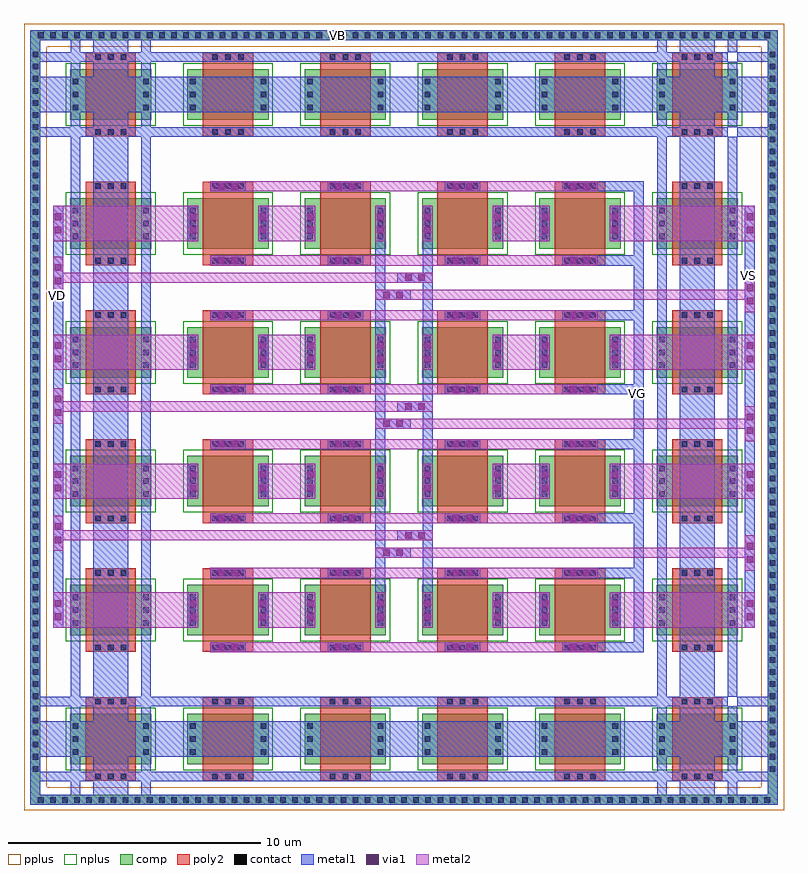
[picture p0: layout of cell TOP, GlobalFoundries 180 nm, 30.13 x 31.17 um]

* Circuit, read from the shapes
.subckt TOP VB VD VG VS
XM1 VB VB VB VB nfet_03v3 w=2u l=2u m=16
XM2 n1 VG VD VB nfet_03v3 w=2u l=2u
XM3 n2 VG VD VB nfet_03v3 w=2u l=2u
XM4 n3 VG VD VB nfet_03v3 w=2u l=2u
XM5 n4 VG VD VB nfet_03v3 w=2u l=2u
XM6 VS VG n1 VB nfet_03v3 w=2u l=2u
XM7 VS VG n2 VB nfet_03v3 w=2u l=2u
XM8 VS VG n3 VB nfet_03v3 w=2u l=2u
XM9 VS VG n4 VB nfet_03v3 w=2u l=2u
XM10 n5 VG VD VB nfet_03v3 w=2u l=2u
XM11 n6 VG VD VB nfet_03v3 w=2u l=2u
XM12 n7 VG VD VB nfet_03v3 w=2u l=2u
XM13 n8 VG VD VB nfet_03v3 w=2u l=2u
XM14 VS VG n5 VB nfet_03v3 w=2u l=2u
XM15 VS VG n6 VB nfet_03v3 w=2u l=2u
XM16 VS VG n7 VB nfet_03v3 w=2u l=2u
XM17 VS VG n8 VB nfet_03v3 w=2u l=2u
XM18 n9 VB VB VB nfet_03v3 w=2u l=2u m=4
.ends

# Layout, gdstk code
from math import pi, radians
import gdstk
lib = gdstk.Library(unit=1e-6, precision=1e-09)
def R(c, l, rs):  # rectangles x0, y0, x1, y1
    for r in rs: c.add(gdstk.rectangle(r[:2], r[2:], *l))
def A(c, l, x, y, w, h, nx, ny, dx, dy):  # array of equal rectangles
    R(c, l, [(x+i*dx, y+j*dy, x+i*dx+w, y+j*dy+h) for i in range(nx) for j in range(ny)])
def P(c, l, *ps):  # polygons
    for p in ps: c.add(gdstk.Polygon(p, *l))
comp = (22, 0)
poly2 = (30, 0)
pplus = (31, 0)
nplus = (32, 0)
contact = (33, 0)
metal1 = (34, 0)
via1 = (35, 0)
metal2 = (36, 0)

via_dev = lib.new_cell('via_dev')
R(via_dev, comp, [(0,0,29,0.4)])
A(via_dev, contact, 0.23, 0.09, 0.22, 0.22, 60, 1, 0.48, 0)
R(via_dev, metal1, [(0,0,29,0.4)])

via_dev_1 = lib.new_cell('via_dev$1')
R(via_dev_1, comp, [(0,0,0.4,29.63)])
A(via_dev_1, contact, 0.09, 0.305, 0.22, 0.22, 1, 61, 0, 0.48)
R(via_dev_1, metal1, [(0,0,0.4,29.63)])

via_dev_2 = lib.new_cell('via_dev$2')
R(via_dev_2, metal1, [(0,0,0.4,1.4)])
R(via_dev_2, via1, [(0.07,0.305,0.33,0.565), (0.07,0.835,0.33,1.095)])
R(via_dev_2, metal2, [(0,0,0.4,1.4)])

nfet = lib.new_cell('nfet')
R(nfet, comp, [(-0.42,0,0,2), (0,0,2.38,2), (2.38,0,2.8,2)])
R(nfet, poly2, [(0.19,-0.66,2.19,-0.3), (0.19,-0.3,2.19,2.3), (0.19,2.3,2.19,2.66)])
R(nfet, nplus, [(-0.59,-0.24,2.97,2.24)])
A(nfet, contact, 0.57, -0.59, 0.22, 0.22, 3, 2, 0.51, 2.96)
A(nfet, contact, -0.32, 0.38, 0.22, 0.22, 1, 3, 0, 0.51)
A(nfet, contact, 2.48, 0.38, 0.22, 0.22, 1, 3, 0, 0.51)
R(nfet, metal1, [(0.49,-0.67,1.89,-0.29), (-0.4,0.3,-0.02,1.7), (2.4,0.3,2.78,1.7), (0.49,2.29,1.89,2.67)])

top = lib.new_cell('TOP')
R(top, comp, [(-9.85,-24.355,-9.45,-24.04), (-9.85,-24.355,-9.45,-24.04), (19.38,-24.355,19.78,-24.04), (19.38,-24.355,19.78,-24.04), (-9.85,-24.16,-9.45,-23.845), (-9.85,-24.16,-9.45,-23.845), (19.38,-24.16,19.78,-23.845), (19.38,-24.16,19.78,-23.845), (-9.85,-23.9,-9.45,-23.585), (-9.85,-23.9,-9.45,-23.585), (19.38,-23.9,19.78,-23.585), (19.38,-23.9,19.78,-23.585), (-9.85,5.295,-9.45,5.61), (-9.85,5.295,-9.45,5.61), (19.38,5.295,19.78,5.61)])
P(top, pplus, [(-10.1,-24.925),(-10.1,-24.025),(19.13,-24.025),(19.13,6.245),(20.03,6.245),(20.03,-24.925)],
  [(-10.1,-24.925),(-10.1,6.245),(20.03,6.245),(20.03,5.345),(-9.2,5.345),(-9.2,-24.925)])
R(top, metal1, [(-9.85,-24.355,-9.45,-24.04), (-9.85,-24.355,-9.45,-24.04), (19.38,-24.355,19.78,-24.04), (19.38,-24.355,19.78,-24.04), (-9.85,-24.16,-9.45,-23.845), (-9.85,-24.16,-9.45,-23.845), (19.38,-24.16,19.78,-23.845), (19.38,-24.16,19.78,-23.845), (-9.85,-23.9,-9.45,-23.585), (-9.85,-23.9,-9.45,-23.585), (19.38,-23.9,19.78,-23.585), (19.38,-23.9,19.78,-23.585), (-8.95,-17.695,-8.55,-0.965), (3.83,-17.695,4.23,-0.965), (5.7,-17.695,6.1,-0.965), (18.48,-17.695,18.88,-0.965), (11.24,-15.725,14.465,-15.325), (11.24,-13.555,14.465,-13.155), (11.24,-10.615,14.465,-10.215), (11.24,-8.445,14.465,-8.045), (11.24,-5.505,14.465,-5.105), (11.24,-3.335,14.465,-2.935), (-9.85,5.295,-9.45,5.61), (-9.85,5.295,-9.45,5.61), (19.38,5.295,19.78,5.61)])
P(top, metal1, [(-8.25,-24.715),(-8.25,-23.775),(-9.85,-23.775),(-9.85,-23.395),(-8.25,-23.395),(-8.25,-22.805),(-7.87,-22.805),(-7.87,-23.395),(-7.36,-23.395),(-7.36,-22.805),(-5.96,-22.805),(-5.96,-23.395),(-5.45,-23.395),(-5.45,-22.805),(-5.07,-22.805),(-5.07,-23.395),(15,-23.395),(15,-22.805),(15.38,-22.805),(15.38,-23.395),(15.89,-23.395),(15.89,-22.805),(17.29,-22.805),(17.29,-23.395),(17.8,-23.395),(17.8,-22.805),(-9.85,-22.805),(-9.85,-21.405),(-8.25,-21.405),(-8.25,-20.815),(-7.87,-20.815),(-7.87,-21.405),(-7.36,-21.405),(-7.36,-20.815),(-5.96,-20.815),(-5.96,-21.405),(-5.45,-21.405),(-5.45,-20.815),(-5.07,-20.815),(-5.07,-21.405),(15,-21.405),(15,-20.815),(15.38,-20.815),(15.38,-21.405),(15.89,-21.405),(15.89,-20.815),(-9.85,-20.815),(-9.85,-20.435),(-8.25,-20.435),(-8.25,1.775),(-7.87,1.775),(-7.87,-20.435),(-7.36,-20.435),(-7.36,1.775),(-5.96,1.775),(-5.96,-20.435),(-5.45,-20.435),(-5.45,1.775),(-5.07,1.775),(-5.07,-20.435),(15,-20.435),(15,1.775),(15.38,1.775),(15.38,-20.435),(15.89,-20.435),(15.89,1.775),(-9.85,1.775),(-9.85,2.155),(-8.25,2.155),(-8.25,2.745),(-7.87,2.745),(-7.87,2.155),(-7.36,2.155),(-7.36,2.745),(-5.96,2.745),(-5.96,2.155),(-5.45,2.155),(-5.45,2.745),(-5.07,2.745),(-5.07,2.155),(15,2.155),(15,2.745),(15.38,2.745),(15.38,2.155),(15.89,2.155),(15.89,2.745),(-9.85,2.745),(-9.85,4.145),(-8.25,4.145),(-8.25,4.735),(-7.87,4.735),(-7.87,4.145),(-7.36,4.145),(-7.36,4.735),(-5.96,4.735),(-5.96,4.145),(-5.45,4.145),(-5.45,4.735),(-5.07,4.735),(-5.07,4.145),(15,4.145),(15,4.735),(15.38,4.735),(15.38,4.145),(15.89,4.145),(15.89,4.735),(-9.85,4.735),(-9.85,5.115),(-8.25,5.115),(-8.25,5.995),(-7.87,5.995),(-7.87,5.115),(-7.36,5.115),(-7.36,5.995),(-5.96,5.995),(-5.96,5.115),(-5.45,5.115),(-5.45,5.995),(-5.07,5.995),(-5.07,5.115),(15,5.115),(15,5.995),(15.38,5.995),(15.38,5.115),(15.89,5.115),(15.89,5.995),(17.29,5.995),(17.29,5.115),(19.78,5.115),(19.78,4.735),(17.29,4.735),(17.29,4.145),(19.78,4.145),(19.78,2.745),(17.29,2.745),(17.29,2.155),(19.78,2.155),(19.78,1.775),(17.29,1.775),(17.29,-20.435),(19.78,-20.435),(19.78,-20.815),(17.29,-20.815),(17.29,-21.405),(17.8,-21.405),(17.8,5.995),(18.18,5.995),(18.18,-21.405),(19.78,-21.405),(19.78,-22.805),(18.18,-22.805),(18.18,-23.395),(19.78,-23.395),(19.78,-23.775),(18.18,-23.775),(18.18,-24.715),(17.8,-24.715),(17.8,-23.775),(17.29,-23.775),(17.29,-24.715),(15.89,-24.715),(15.89,-23.775),(15.38,-23.775),(15.38,-24.715),(15,-24.715),(15,-23.775),(-5.07,-23.775),(-5.07,-24.715),(-5.45,-24.715),(-5.45,-23.775),(-5.96,-23.775),(-5.96,-24.715),(-7.36,-24.715),(-7.36,-23.775),(-7.87,-23.775),(-7.87,-24.715)],
  [(11.24,-18.665),(11.24,-18.265),(14.065,-18.265),(14.065,-0.395),(11.24,-0.395),(11.24,0.005),(14.465,0.005),(14.465,-18.665),(14.065,-18.665)])
A(top, metal2, -8.95, -17.695, 5.75, 1.4, 1, 3, 0, 5.11)
A(top, metal2, -0.82, -17.695, 2.27, 1.4, 1, 4, 0, 5.11)
A(top, metal2, 8.48, -17.695, 2.27, 1.4, 1, 4, 0, 5.11)
A(top, metal2, 13.15, -17.695, 5.73, 1.4, 1, 4, 0, 5.11)
A(top, metal2, 3.83, -14.915, 15.05, 0.4, 1, 3, 0, 5.11)
A(top, metal2, -8.95, -14.235, 15.05, 0.4, 1, 3, 0, 5.11)
R(top, metal2, [(-2.71,-18.665,12.64,-18.265), (-2.71,-15.725,12.64,-15.325), (-2.71,-13.555,12.64,-13.155), (-2.71,-10.615,12.64,-10.215), (-3.6,-9.125,6.1,-8.725), (-2.71,-8.445,12.64,-8.045), (-8.95,-7.475,-3.2,-6.075), (-2.71,-5.505,12.64,-5.105), (3.83,-4.695,18.88,-4.295), (-3.6,-4.015,6.1,-3.615), (-2.71,-3.335,12.64,-2.935), (-8.95,-2.365,-3.2,-0.965), (-2.71,-0.395,12.64,0.005)])
top.add(gdstk.Reference(via_dev, (-9.85,5.37), rotation=3*pi/2))
top.add(gdstk.Reference(via_dev_1, (19.78,5.595), rotation=pi/2))
top.add(gdstk.Reference(via_dev_2, (18.475,-10.305)))
top.add(gdstk.Reference(via_dev_2, (-8.95,-9.6)))
top.add(gdstk.Reference(via_dev_2, (3.83,-9.405), rotation=3*pi/2))
top.add(gdstk.Reference(via_dev_2, (4.7,-8.725), rotation=3*pi/2))
top.add(gdstk.Reference(via_dev, (19.38,5.37), rotation=3*pi/2))
top.add(gdstk.Reference(via_dev_2, (4.7,-3.615), rotation=3*pi/2))
top.add(gdstk.Reference(via_dev_2, (3.83,-4.295), rotation=3*pi/2))
top.add(gdstk.Reference(via_dev_2, (4.7,-13.835), rotation=3*pi/2))
top.add(gdstk.Reference(via_dev_2, (3.83,-14.515), rotation=3*pi/2))
top.add(gdstk.Reference(via_dev_1, (19.78,-24.715), rotation=pi/2))
top.add(gdstk.Reference(nfet, (10.75,-2.665)))
top.add(gdstk.Reference(via_dev_2, (18.48,-5.18)))
top.add(gdstk.Reference(nfet, (6.1,-7.775)))
top.add(gdstk.Reference(nfet, (10.75,-7.775)))
top.add(gdstk.Reference(via_dev_2, (6.1,-0.965), rotation=pi))
top.add(gdstk.Reference(via_dev_2, (8.88,-0.965), rotation=pi))
top.add(gdstk.Reference(nfet, (15.4,-2.665)))
top.add(gdstk.Reference(nfet, (15.4,-7.775)))
top.add(gdstk.Reference(nfet, (6.1,2.445)))
top.add(gdstk.Reference(nfet, (10.75,2.445)))
top.add(gdstk.Reference(via_dev_2, (13.53,-0.965), rotation=pi))
top.add(gdstk.Reference(via_dev_2, (13.53,-6.075), rotation=pi))
top.add(gdstk.Reference(nfet, (15.4,2.445)))
top.add(gdstk.Reference(via_dev_2, (10.75,-0.965), rotation=pi))
top.add(gdstk.Reference(via_dev_2, (18.88,-0.965), rotation=pi))
top.add(gdstk.Reference(via_dev_2, (6.1,-6.075), rotation=pi))
top.add(gdstk.Reference(via_dev_2, (8.88,-6.075), rotation=pi))
top.add(gdstk.Reference(via_dev_2, (10.75,-6.075), rotation=pi))
top.add(gdstk.Reference(via_dev_2, (18.88,-6.075), rotation=pi))
top.add(gdstk.Reference(via_dev_2, (6.59,0.005), rotation=3*pi/2))
top.add(gdstk.Reference(via_dev_2, (6.59,-2.935), rotation=3*pi/2))
top.add(gdstk.Reference(via_dev_2, (11.24,0.005), rotation=3*pi/2))
top.add(gdstk.Reference(via_dev_2, (11.24,-2.935), rotation=3*pi/2))
top.add(gdstk.Reference(via_dev_2, (6.59,-5.105), rotation=3*pi/2))
top.add(gdstk.Reference(via_dev_2, (11.24,-5.105), rotation=3*pi/2))
top.add(gdstk.Reference(via_dev_2, (6.59,-8.045), rotation=3*pi/2))
top.add(gdstk.Reference(via_dev_2, (11.24,-8.045), rotation=3*pi/2))
top.add(gdstk.Reference(nfet, (6.1,-2.665)))
top.add(gdstk.Reference(via_dev_2, (1.45,-0.965), rotation=pi))
top.add(gdstk.Reference(nfet, (-7.85,-2.665)))
top.add(gdstk.Reference(nfet, (-7.85,-7.775)))
top.add(gdstk.Reference(nfet, (-7.85,2.445)))
top.add(gdstk.Reference(nfet, (-3.2,2.445)))
top.add(gdstk.Reference(nfet, (1.45,2.445)))
top.add(gdstk.Reference(via_dev_2, (4.23,-0.965), rotation=pi))
top.add(gdstk.Reference(nfet, (-3.2,-7.775)))
top.add(gdstk.Reference(via_dev_2, (-8.55,-0.965), rotation=pi))
top.add(gdstk.Reference(via_dev_2, (-8.55,-6.075), rotation=pi))
top.add(gdstk.Reference(nfet, (1.45,-7.775)))
top.add(gdstk.Reference(via_dev_2, (-2.71,-5.105), rotation=3*pi/2))
top.add(gdstk.Reference(via_dev_2, (1.94,-5.105), rotation=3*pi/2))
top.add(gdstk.Reference(nfet, (-3.2,-2.665)))
top.add(gdstk.Reference(nfet, (1.45,-2.665)))
top.add(gdstk.Reference(via_dev_2, (-2.71,-8.045), rotation=3*pi/2))
top.add(gdstk.Reference(via_dev_2, (1.94,-8.045), rotation=3*pi/2))
top.add(gdstk.Reference(via_dev_2, (-0.42,-6.075), rotation=pi))
top.add(gdstk.Reference(via_dev_2, (1.45,-6.075), rotation=pi))
top.add(gdstk.Reference(via_dev_2, (4.23,-6.075), rotation=pi))
top.add(gdstk.Reference(via_dev_2, (-3.2,-0.965), rotation=pi))
top.add(gdstk.Reference(via_dev_2, (-3.2,-6.075), rotation=pi))
top.add(gdstk.Reference(via_dev_2, (-0.42,-0.965), rotation=pi))
top.add(gdstk.Reference(via_dev_2, (-2.71,0.005), rotation=3*pi/2))
top.add(gdstk.Reference(via_dev_2, (-8.95,-4.38)))
top.add(gdstk.Reference(via_dev_2, (-2.71,-2.935), rotation=3*pi/2))
top.add(gdstk.Reference(via_dev_2, (1.94,0.005), rotation=3*pi/2))
top.add(gdstk.Reference(via_dev_2, (1.94,-2.935), rotation=3*pi/2))
top.add(gdstk.Reference(via_dev_2, (-3.2,-11.185), rotation=pi))
top.add(gdstk.Reference(via_dev_2, (-0.42,-11.185), rotation=pi))
top.add(gdstk.Reference(via_dev_2, (1.45,-11.185), rotation=pi))
top.add(gdstk.Reference(via_dev_2, (4.23,-11.185), rotation=pi))
top.add(gdstk.Reference(via_dev_2, (-2.71,-10.215), rotation=3*pi/2))
top.add(gdstk.Reference(via_dev_2, (-2.71,-13.155), rotation=3*pi/2))
top.add(gdstk.Reference(via_dev_2, (1.94,-13.155), rotation=3*pi/2))
top.add(gdstk.Reference(via_dev_2, (-8.95,-14.65)))
top.add(gdstk.Reference(nfet, (1.45,-23.105)))
top.add(gdstk.Reference(nfet, (-3.2,-23.105)))
top.add(gdstk.Reference(via_dev_2, (1.94,-10.215), rotation=3*pi/2))
top.add(gdstk.Reference(nfet, (-3.2,-12.885)))
top.add(gdstk.Reference(nfet, (1.45,-12.885)))
top.add(gdstk.Reference(nfet, (-7.85,-12.885)))
top.add(gdstk.Reference(via_dev_2, (-3.2,-16.295), rotation=pi))
top.add(gdstk.Reference(via_dev_2, (-8.55,-16.295), rotation=pi))
top.add(gdstk.Reference(via_dev_2, (1.94,-18.265), rotation=3*pi/2))
top.add(gdstk.Reference(via_dev_2, (-2.71,-18.265), rotation=3*pi/2))
top.add(gdstk.Reference(via_dev_2, (1.94,-15.325), rotation=3*pi/2))
top.add(gdstk.Reference(via_dev_2, (-2.71,-15.325), rotation=3*pi/2))
top.add(gdstk.Reference(nfet, (-7.85,-17.995)))
top.add(gdstk.Reference(nfet, (1.45,-17.995)))
top.add(gdstk.Reference(nfet, (-3.2,-17.995)))
top.add(gdstk.Reference(via_dev_2, (4.23,-16.295), rotation=pi))
top.add(gdstk.Reference(via_dev_2, (1.45,-16.295), rotation=pi))
top.add(gdstk.Reference(via_dev_2, (-0.42,-16.295), rotation=pi))
top.add(gdstk.Reference(nfet, (-7.85,-23.105)))
top.add(gdstk.Reference(via_dev_2, (-8.55,-11.185), rotation=pi))
top.add(gdstk.Reference(via_dev_2, (10.75,-11.185), rotation=pi))
top.add(gdstk.Reference(via_dev_2, (18.88,-11.185), rotation=pi))
top.add(gdstk.Reference(via_dev_2, (6.59,-10.215), rotation=3*pi/2))
top.add(gdstk.Reference(via_dev_2, (11.24,-10.215), rotation=3*pi/2))
top.add(gdstk.Reference(via_dev_2, (13.53,-11.185), rotation=pi))
top.add(gdstk.Reference(via_dev_2, (6.1,-11.185), rotation=pi))
top.add(gdstk.Reference(nfet, (6.1,-12.885)))
top.add(gdstk.Reference(via_dev_2, (18.48,-15.43)))
top.add(gdstk.Reference(via_dev_2, (6.59,-13.155), rotation=3*pi/2))
top.add(gdstk.Reference(via_dev_2, (11.24,-13.155), rotation=3*pi/2))
top.add(gdstk.Reference(nfet, (15.4,-12.885)))
top.add(gdstk.Reference(nfet, (15.4,-17.995)))
top.add(gdstk.Reference(nfet, (10.75,-17.995)))
top.add(gdstk.Reference(nfet, (15.4,-23.105)))
top.add(gdstk.Reference(nfet, (10.75,-23.105)))
top.add(gdstk.Reference(nfet, (6.1,-23.105)))
top.add(gdstk.Reference(via_dev_2, (13.53,-16.295), rotation=pi))
top.add(gdstk.Reference(via_dev_2, (13.53,-16.295), rotation=pi))
top.add(gdstk.Reference(nfet, (6.1,-17.995)))
top.add(gdstk.Reference(via_dev_2, (10.75,-16.295), rotation=pi))
top.add(gdstk.Reference(via_dev_2, (18.88,-16.295), rotation=pi))
top.add(gdstk.Reference(via_dev_2, (10.75,-16.295), rotation=pi))
top.add(gdstk.Reference(via_dev_2, (11.24,-18.265), rotation=3*pi/2))
top.add(gdstk.Reference(via_dev_2, (6.59,-18.265), rotation=3*pi/2))
top.add(gdstk.Reference(via_dev_2, (8.88,-16.295), rotation=pi))
top.add(gdstk.Reference(via_dev_2, (6.1,-16.295), rotation=pi))
top.add(gdstk.Reference(via_dev_2, (11.24,-15.325), rotation=3*pi/2))
top.add(gdstk.Reference(via_dev_2, (6.59,-15.325), rotation=3*pi/2))
top.add(gdstk.Reference(nfet, (10.75,-12.885)))
top.add(gdstk.Reference(via_dev_2, (8.88,-11.185), rotation=pi))
top.add(gdstk.Label('VG', (14.235,-8.4), layer=34, texttype=10))
top.add(gdstk.Label('VD', (-8.79,-4.515), layer=34, texttype=10))
top.add(gdstk.Label('VS', (18.635,-3.72), layer=34, texttype=10))
top.add(gdstk.Label('VB', (2.33,5.8), layer=34, texttype=10))

lib.write_gds('TOP.gds')
